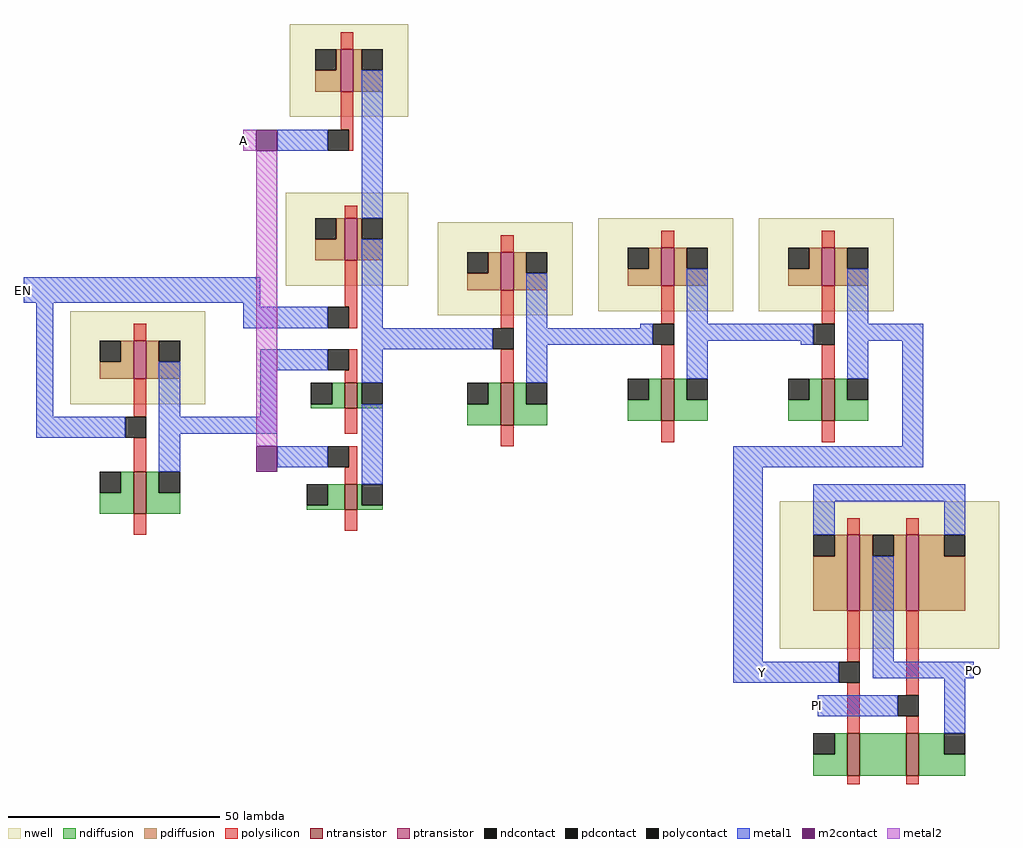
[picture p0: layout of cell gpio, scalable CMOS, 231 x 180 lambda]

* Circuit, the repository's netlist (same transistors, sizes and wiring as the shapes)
* SPICE3 file created from gpio.ext - technology: scmos

.option scale=0.1u

M1000 VDD PI PO nand_0/w_n24_n9# pfet w=18 l=3
+  ad=690 pd=278 as=198 ps=58
M1001 nand_0/a_n5_n39# Y GND w_n1073741817_n1073741817# nfet w=10 l=3
+  ad=110 pd=42 as=454 ps=210
M1002 PO Y VDD nand_0/w_n24_n9# pfet w=18 l=3
+  ad=0 pd=0 as=0 ps=0
M1003 PO PI nand_0/a_n5_n39# w_n1073741817_n1073741817# nfet w=10 l=3
+  ad=110 pd=42 as=0 ps=0
M1004 cmos_0/vin tristate_0/cmos_0/vin VDD tristate_0/cmos_0/w_n17_0# pfet w=9 l=3
+  ad=72 pd=34 as=0 ps=0
M1005 cmos_0/vin tristate_0/cmos_0/vin GND w_n1073741817_n1073741817# nfet w=10 l=3
+  ad=80 pd=36 as=0 ps=0
M1006 tristate_0/cmos_1/vout EN VDD tristate_0/cmos_1/w_n17_0# pfet w=9 l=3
+  ad=72 pd=34 as=0 ps=0
M1007 tristate_0/cmos_1/vout EN GND w_n1073741817_n1073741817# nfet w=10 l=3
+  ad=80 pd=36 as=0 ps=0
M1008 tristate_0/cmos_0/vin A VDD tristate_0/w_n27_10# pfet w=10 l=3
+  ad=130 pd=66 as=0 ps=0
M1009 tristate_0/cmos_0/vin A GND w_n1073741817_n1073741817# nfet w=6 l=3
+  ad=72 pd=48 as=0 ps=0
M1010 tristate_0/cmos_0/vin tristate_0/cmos_1/vout tristate_0/a_n22_n59# w_n1073741817_n1073741817# nfet w=6 l=3
+  ad=0 pd=0 as=48 ps=28
M1011 tristate_0/cmos_0/vin EN tristate_0/a_n21_n24# tristate_0/w_n28_n30# pfet w=10 l=3
+  ad=0 pd=0 as=70 ps=34
M1012 cmos_1/vin cmos_0/vin VDD cmos_0/w_n17_0# pfet w=9 l=3
+  ad=72 pd=34 as=0 ps=0
M1013 cmos_1/vin cmos_0/vin GND w_n1073741817_n1073741817# nfet w=10 l=3
+  ad=80 pd=36 as=0 ps=0
M1014 Y cmos_1/vin VDD cmos_1/w_n17_0# pfet w=9 l=3
+  ad=72 pd=34 as=0 ps=0
M1015 Y cmos_1/vin GND w_n1073741817_n1073741817# nfet w=10 l=3
+  ad=80 pd=36 as=0 ps=0


.model nfet NMOS (LEVEL=8 VERSION=3.2 TNOM=27 TOX=4.1E-9 XJ=1E-7 NCH=2.3549E17 VTH0=0.3823463 K1=0.5810697 
+            K2=4.774618E-3 K3=0.0431669 K3B=1.1498346 W0=1E-7 NLX=1.910552E-7 DVT0W=0 DVT1W=0 DVT2W=0 
+            DVT0=1.2894824 DVT1=0.3622063 DVT2=0.0713729 U0=280.633249 UA=-1.208537E-9 UB=2.158625E-18
+            UC=5.342807E-11 VSAT=9.366802E4 A0=1.7593146 AGS=0.3939741 B0=-6.413949E-9 B1=-1E-7 KETA=-5.180424E-4
+            A1=0 A2=1 RDSW=105.5517558 PRWG=0.5 PRWB=-0.1998871 WR=1 WINT=7.904732E-10 LINT=1.571424E-8 XL=0
+            XW=-1E-8 DWG=1.297221E-9 DWB=1.479041E-9 VOFF=-0.0955434 NFACTOR=2.4358891 CIT=0 CDSC=2.4E-4 CDSCD=0
+            CDSCB=0 ETA0=3.104851E-3 ETAB=-2.512384E-5 DSUB=0.0167075 PCLM=0.8073191 PDIBLC1=0.1666161 PDIBLC2=3.112892E-3    
+            PDIBLCB=-0.1 DROUT=0.7875618 PSCBE1=8E10 PSCBE2=9.213635E-10 PVAG=3.85243E-3 DELTA=0.01 RSH=6.7 MOBMOD=1
+            PRT=0 UTE=-1.5 KT1=-0.11 KT1L=0 KT2=0.022 UA1=4.31E-9 UB1=-7.61E-18 UC1=-5.6E-11 AT=3.3E4 WL=0 WLN=1
+            WW=0 WWN=1 WWL=0 LL=0 LLN=1 LW=0 LWN=1 LWL=0 CAPMOD=2 XPART=0.5 CGDO=7.08E-10 CGSO=7.08E-10 CGBO=1E-12
+            CJ=9.68858E-4 PB=0.8 MJ=0.3864502 CJSW=2.512138E-10 PBSW=0.809286 MJSW=0.1060414 CJSWG=3.3E-10 PBSWG=0.809286 
+            MJSWG=0.1060414 CF=0 PVTH0=-1.192722E-3 PRDSW=-5 PK2=6.450505E-5 WKETA=-4.27294E-4 LKETA=-0.0104078 
+            PU0=6.3268729 PUA=2.226552E-11 PUB=0 PVSAT=969.1480157 PETA0=1E-4 PKETA=-1.049509E-3)

.model pfet PMOS (LEVEL=8 VERSION=3.2 TNOM=27 TOX=4.1E-9 XJ=1E-7 NCH=4.1589E17 VTH0=-0.3938813 K1=0.5479015
+            K2=0.0360586 K3=0.0993095 K3B=5.7086622 W0=1E-6 NLX=1.313191E-7 DVT0W=0 DVT1W=0 DVT2W=0 DVT0=0.4911363
+            DVT1=0.2227356 DVT2=0.1 U0=115.6852975 UA=1.505832E-9 UB=1E-21 UC=-1E-10 VSAT=1.329694E5 A0=1.7590478
+            AGS=0.3641621 B0=3.427126E-7 B1=1.062928E-6 KETA=0.0134667 A1=0.6859506 A2=0.3506788 RDSW=168.5705677
+            PRWG=0.5 PRWB=-0.4987371 WR=1 WINT=0 LINT=3.028832E-8 XL=0 XW=-1E-8 DWG=-2.349633E-8 DWB=-7.152486E-9 
+            VOFF=-0.0994037 NFACTOR=1.9424315 CIT=0 CDSC=2.4E-4 CDSCD=0 CDSCB=0 ETA0=0.0608072 ETAB=-0.0426148
+            DSUB=0.7343015 PCLM=3.2579974 PDIBLC1=7.229527E-6 PDIBLC2=0.025389 PDIBLCB=-1E-3 DROUT=0 PSCBE1=1.454878E10
+            PSCBE2=4.202027E-9 PVAG=15 DELTA=0.01 RSH=7.8 MOBMOD=1 PRT=0 UTE=-1.5 KT1=-0.11 KT1L=0 KT2=0.022 UA1=4.31E-9
+            UB1=-7.61E-18 UC1=-5.6E-11 AT=3.3E4 WL=0 WLN=1 WW=0 WWN=1 WWL=0 LL=0 LLN=1 LW=0 LWN=1 LWL=0 CAPMOD=2 XPART=0.5
+            CGDO=6.32E-10 CGSO=6.32E-10 CGBO=1E-12 CJ=1.172138E-3 PB=0.8421173 MJ=0.4109788 CJSW=2.242609E-10 PBSW=0.8            
+            MJSW=0.3752089 CJSWG=4.22E-10 PBSWG=0.8 MJSWG=0.3752089 CF=0 PVTH0=1.888482E-3 PRDSW=11.5315407 PK2=1.559399E-3    
+            WKETA=0.0319301 LKETA=2.955547E-3 PU0=-1.1105313 PUA=-4.62102E-11 PUB=1E-21 PVSAT=50 PETA0=1E-4 PKETA=-4.346368E-3)


v1 VDD GND DC 1.8
v2 EN GND  PWL(0n 1.8 9.999n 1.8 10n 0 19.999n 0) r=0
v3 A GND PWL(0n 0 9.999n 0 10n 1.8 19.999n 1.8 20n 1.8 29.999n 1.8 30n 0 34.999n 0 35n 1.8 39.999n 1.8 40n 0 44.9999n 0 45n 1.8 49.999n 1.8 50n 0 59.999n 0 60n 1.8 69.999n 1.8 70n 1.8 79.999n 1.8 80n 0) 
v4 PI GND  PWL(0n 0 6.999n 0 7n 1.8 13.999n 1.8 14n 0 26.999n 0 27n 1.8 39.999n 1.8 40n 1.8 52.999n 1.8 53n 0 65.999n 0 66n 0 72.999n 0 73n 1.8 79.999n 1.8 80n 0 92.999n 0 93n 1.8 102.999n 1.8 130n 0) 

.tran 0.01n 100n
*controlstatements*
.control
run
plot v(A) v(EN)
plot v(PI) v(Y)
plot v(PO)
 
.endc
.end

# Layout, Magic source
magic
tech scmos
<< metal1 >>
rect -10 58 -7 64
rect 122 48 136 52
rect 156 49 174 53
rect 194 49 203 53
rect 198 24 203 49
rect 158 19 203 24
rect 158 -27 165 19
rect 158 -32 180 -27
rect 213 -31 215 -27
rect 178 -40 180 -35
<< metal2 >>
rect 42 94 45 99
use tristate  tristate_0
transform 1 0 80 0 1 92
box -87 -89 42 32
use cmos  cmos_0
transform 1 0 143 0 1 56
box -17 -31 15 22
use cmos  cmos_1
transform 1 0 181 0 1 56
box -17 -31 15 22
use nand  nand_0
transform 1 0 193 0 1 -15
box -24 -41 28 30
<< labels >>
rlabel metal1 165 -32 165 -27 1 Y
rlabel metal1 178 -40 178 -35 1 PI
rlabel metal1 215 -31 215 -27 1 PO
rlabel metal2 42 94 42 99 1 A
rlabel metal1 -10 58 -10 64 3 EN
<< end >>

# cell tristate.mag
magic
tech scmos
<< nwell >>
rect -27 10 1 32
rect -28 -30 1 -8
<< ntransistor >>
rect -14 -59 -11 -53
rect -14 -83 -11 -77
<< ptransistor >>
rect -15 16 -12 26
rect -14 -24 -11 -14
<< ndiffusion >>
rect -17 -58 -14 -53
rect -22 -59 -14 -58
rect -11 -58 -10 -53
rect -11 -59 -5 -58
rect -18 -82 -14 -77
rect -23 -83 -14 -82
rect -11 -82 -10 -77
rect -11 -83 -5 -82
<< pdiffusion >>
rect -16 21 -15 26
rect -21 16 -15 21
rect -12 21 -10 26
rect -12 16 -5 21
rect -16 -19 -14 -14
rect -21 -24 -14 -19
rect -11 -19 -10 -14
rect -11 -24 -5 -19
<< ndcontact >>
rect -22 -58 -17 -53
rect -10 -58 -5 -53
rect -23 -82 -18 -77
rect -10 -82 -5 -77
<< pdcontact >>
rect -21 21 -16 26
rect -10 21 -5 26
rect -21 -19 -16 -14
rect -10 -19 -5 -14
<< polysilicon >>
rect -15 26 -12 30
rect -15 7 -12 16
rect -13 2 -12 7
rect -14 -14 -11 -11
rect -14 -35 -11 -24
rect -13 -40 -11 -35
rect -13 -50 -11 -45
rect -14 -53 -11 -50
rect -14 -65 -11 -59
rect -13 -73 -11 -68
rect -14 -77 -11 -73
rect -14 -88 -11 -83
<< polycontact >>
rect -18 2 -13 7
rect -18 -40 -13 -35
rect -18 -50 -13 -45
rect -18 -73 -13 -68
<< metal1 >>
rect -30 2 -18 7
rect -10 -14 -5 21
rect -87 -34 -34 -28
rect -87 -61 -83 -34
rect -38 -35 -34 -34
rect -38 -40 -18 -35
rect -10 -40 -5 -19
rect -10 -45 18 -40
rect 38 -44 42 -40
rect -34 -50 -18 -45
rect -34 -61 -30 -50
rect -10 -53 -5 -45
rect -87 -66 -69 -61
rect -49 -65 -30 -61
rect -30 -73 -18 -68
rect -10 -77 -5 -58
<< m2contact >>
rect -35 2 -30 7
rect -35 -74 -30 -68
<< metal2 >>
rect -35 -68 -30 2
use cmos  cmos_1
transform 1 0 -62 0 1 -58
box -17 -31 15 22
use cmos  cmos_0
transform 1 0 25 0 1 -37
box -17 -31 15 22
<< labels >>
rlabel metal1 -87 -38 -87 -28 3 ven
rlabel pdcontact -19 25 -19 25 1 VDD!
rlabel ndcontact -21 -81 -21 -81 1 GND!
rlabel metal2 -35 -8 -35 2 1 IN
rlabel metal1 42 -44 42 -40 7 OUT
<< end >>

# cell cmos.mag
magic
tech scmos
<< nwell >>
rect -17 0 15 22
<< ntransistor >>
rect -2 -26 1 -16
<< ptransistor >>
rect -2 6 1 15
<< ndiffusion >>
rect -5 -21 -2 -16
rect -10 -26 -2 -21
rect 1 -21 4 -16
rect 1 -26 9 -21
<< pdiffusion >>
rect -5 10 -2 15
rect -10 6 -2 10
rect 1 10 4 15
rect 1 6 9 10
<< ndcontact >>
rect -10 -21 -5 -16
rect 4 -21 9 -16
<< pdcontact >>
rect -10 10 -5 15
rect 4 10 9 15
<< polysilicon >>
rect -2 15 1 19
rect -2 -3 1 6
rect -2 -16 1 -8
rect -2 -31 1 -26
<< polycontact >>
rect -4 -8 1 -3
<< metal1 >>
rect 4 -3 9 10
rect -7 -8 -4 -3
rect 4 -7 13 -3
rect 4 -16 9 -7
<< labels >>
rlabel metal1 -7 -8 -7 -3 1 vin
rlabel metal1 13 -7 13 -3 7 vout
rlabel pdcontact -9 13 -9 13 1 VDD!
rlabel ndcontact -9 -18 -9 -18 1 GND!
<< end >>

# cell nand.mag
magic
tech scmos
<< nwell >>
rect -24 -9 28 26
<< ntransistor >>
rect -8 -39 -5 -29
rect 6 -39 9 -29
<< ptransistor >>
rect -8 0 -5 18
rect 6 0 9 18
<< ndiffusion >>
rect -11 -34 -8 -29
rect -16 -39 -8 -34
rect -5 -39 6 -29
rect 9 -34 15 -29
rect 9 -39 20 -34
<< pdiffusion >>
rect -11 13 -8 18
rect -16 0 -8 13
rect -5 13 -2 18
rect 3 13 6 18
rect -5 0 6 13
rect 9 13 15 18
rect 9 0 20 13
<< ndcontact >>
rect -16 -34 -11 -29
rect 15 -34 20 -29
<< pdcontact >>
rect -16 13 -11 18
rect -2 13 3 18
rect 15 13 20 18
<< polysilicon >>
rect -8 18 -5 22
rect 6 18 9 22
rect -8 -12 -5 0
rect -8 -29 -5 -17
rect 6 -20 9 0
rect 6 -29 9 -25
rect -8 -41 -5 -39
rect 6 -41 9 -39
<< polycontact >>
rect -10 -17 -5 -12
rect 4 -25 9 -20
<< metal1 >>
rect -16 26 20 30
rect -16 18 -11 26
rect 15 18 20 26
rect -2 -12 3 13
rect -13 -17 -10 -12
rect -2 -16 20 -12
rect -13 -25 4 -20
rect 15 -29 20 -16
<< labels >>
rlabel pdcontact -14 17 -14 17 1 VDD!
rlabel metal1 -13 -17 -13 -12 1 va
rlabel metal1 -13 -25 -13 -20 1 vb
rlabel metal1 20 -16 20 -12 1 vout
rlabel ndcontact -14 -30 -14 -30 1 GND!
<< end >>
